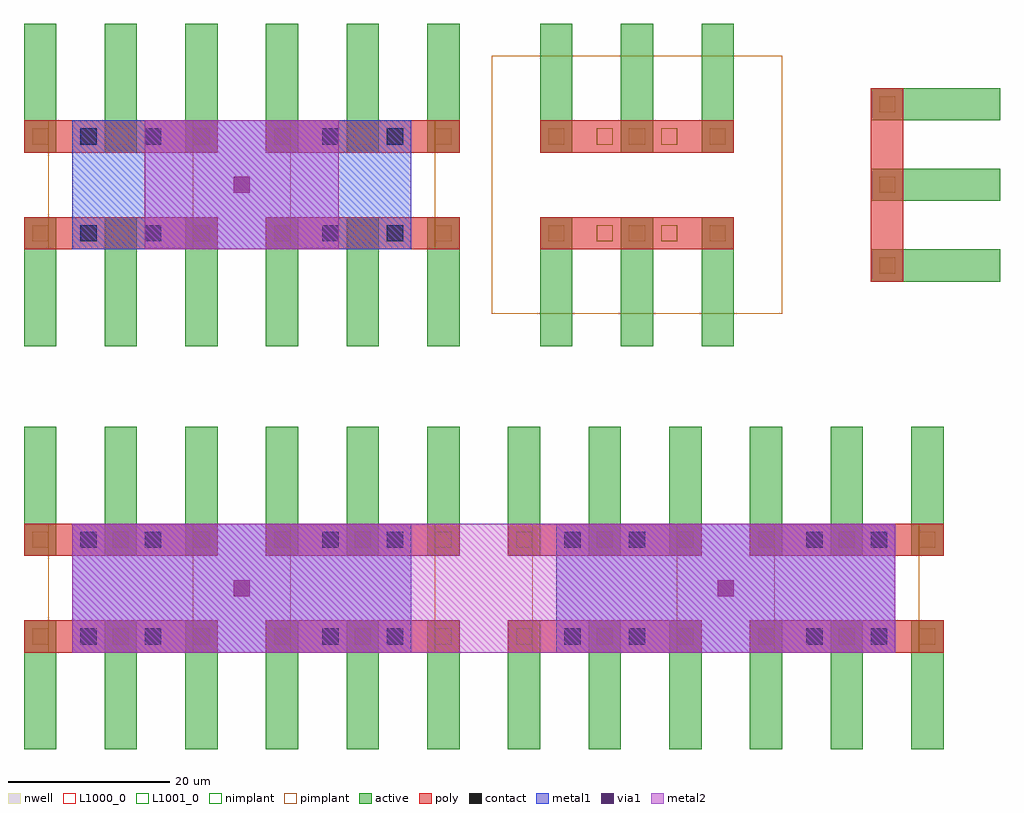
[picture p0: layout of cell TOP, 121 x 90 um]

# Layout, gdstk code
import gdstk
lib = gdstk.Library(unit=1e-6, precision=1e-09)
def R(c, l, rs):  # rectangles x0, y0, x1, y1
    for r in rs: c.add(gdstk.rectangle(r[:2], r[2:], *l))
def A(c, l, x, y, w, h, nx, ny, dx, dy):  # array of equal rectangles
    R(c, l, [(x+i*dx, y+j*dy, x+i*dx+w, y+j*dy+h) for i in range(nx) for j in range(ny)])
active = (1, 0)
nwell = (2, 0)
poly = (3, 0)
nimplant = (4, 0)
pimplant = (5, 0)
contact = (6, 0)
metal1 = (7, 0)
via1 = (8, 0)
metal2 = (9, 0)
L1000_0 = (1000, 0)
L1001_0 = (1001, 0)

top = lib.new_cell('TOP')
A(top, active, -60, -20, 4, 16, 12, 2, 10, 24)
A(top, active, -60, 30, 4, 16, 6, 2, 10, 24)
A(top, active, 4, 30, 4, 16, 3, 2, 10, 24)
A(top, active, 45, 38, 16, 4, 1, 3, 0, 10)
A(top, nwell, -59, -7, 2, 2, 12, 2, 10, 12)
A(top, nwell, 46, 39, 2, 2, 1, 3, 0, 10)
A(top, nwell, -59, 43, 2, 2, 6, 2, 10, 12)
A(top, nwell, 5, 43, 2, 2, 3, 2, 10, 12)
A(top, poly, -60, -8, 24, 4, 4, 2, 30, 12)
R(top, poly, [(45,38,49,62), (-60,42,-36,46), (-30,42,-6,46), (4,42,28,46), (-60,54,-36,58), (-30,54,-6,58), (4,54,28,58)])
R(top, nimplant, [(-53,-7,-51,-5), (-45,-7,-43,-5), (-23,-7,-21,-5), (-15,-7,-13,-5), (7,-7,9,-5), (15,-7,17,-5), (37,-7,39,-5), (45,-7,47,-5), (-53,5,-51,7), (-45,5,-43,7), (-23,5,-21,7), (-15,5,-13,7), (7,5,9,7), (15,5,17,7), (37,5,39,7), (45,5,47,7), (-53,43,-51,45), (-45,43,-43,45), (-23,43,-21,45), (-15,43,-13,45), (11,43,13,45), (19,43,21,45), (-53,55,-51,57), (-45,55,-43,57), (-23,55,-21,57), (-15,55,-13,57), (11,55,13,57), (19,55,21,57)])
A(top, pimplant, -57, -8, 18, 16, 4, 1, 30, 0)
R(top, pimplant, [(-2,34,34,66), (-57,42,-39,58), (-27,42,-9,58), (7,42,25,58)])
R(top, contact, [(-53,-7,-51,-5), (-45,-7,-43,-5), (-23,-7,-21,-5), (-15,-7,-13,-5), (7,-7,9,-5), (15,-7,17,-5), (37,-7,39,-5), (45,-7,47,-5), (-53,5,-51,7), (-45,5,-43,7), (-23,5,-21,7), (-15,5,-13,7), (7,5,9,7), (15,5,17,7), (37,5,39,7), (45,5,47,7), (-53,43,-51,45), (-45,43,-43,45), (-23,43,-21,45), (-15,43,-13,45), (-53,55,-51,57), (-45,55,-43,57), (-23,55,-21,57), (-15,55,-13,57)])
R(top, metal1, [(-54,-8,-12,8), (6,-8,48,8), (-54,42,-12,58)])
R(top, via1, [(-34,-1,-32,1), (26,-1,28,1), (-34,49,-32,51)])
R(top, metal2, [(-54,-8,48,8), (-45,42,-21,58)])
A(top, L1000_0, -60, -20, 4, 16, 12, 2, 10, 24)
A(top, L1000_0, -60, 30, 4, 16, 6, 2, 10, 24)
A(top, L1000_0, 4, 30, 4, 16, 3, 2, 10, 24)
A(top, L1000_0, 45, 38, 16, 4, 1, 3, 0, 10)
A(top, L1001_0, -60, -20, 4, 16, 12, 2, 10, 24)
A(top, L1001_0, 4, 30, 4, 16, 3, 2, 10, 24)

lib.write_gds('TOP.gds')
